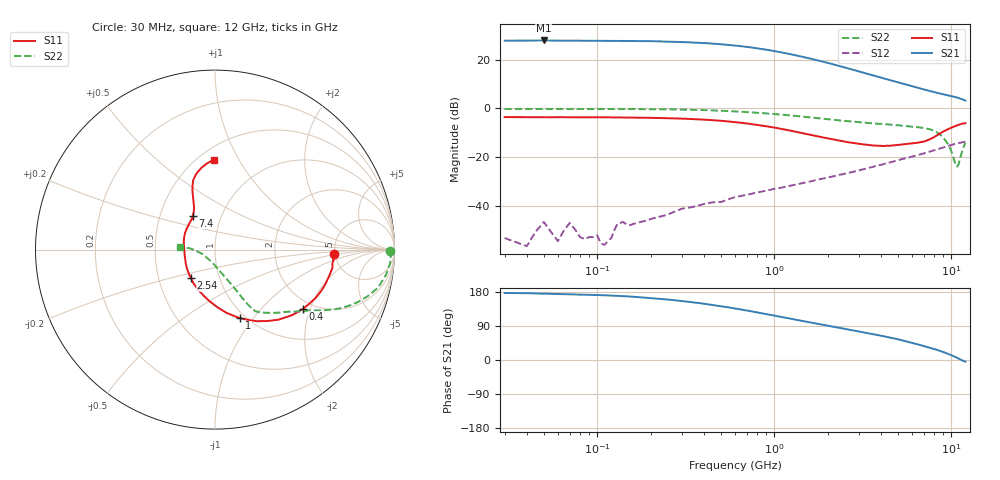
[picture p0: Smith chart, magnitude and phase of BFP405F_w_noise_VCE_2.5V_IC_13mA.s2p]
! Infineon Technologies  Discrete & RF Semiconductors
! BFP405F
! VCE =  2.5 V,  IC =  13 mA
! Common Emitter S-Parameters:  Nov 2015
# GHz  S  MA  R  50
!  f  S11  S21  S12  S22
! GHz  MAG  ANG  MAG  ANG  MAG  ANG  MAG  ANG
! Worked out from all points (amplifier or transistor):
!   239 points, 30 MHz to 12 GHz, reference 50 ohm
!   highest |S21| = 27.9 dB at 50 MHz (marker M1)
!   |S21| within 3 dB of that: start of sweep to 762.3 MHz
!   unconditionally stable (mu >= 1): 2.066 GHz to end of sweep
!   at 300 MHz: K = 0.21, MSG = 34.2 dB, |S12| = -41.1 dB
!   at 1.88 GHz: K = 0.95, MSG = 24.0 dB, |S12| = -28.8 dB
!   at 12 GHz: K = 1.38, MAG = 4.8 dB, |S12| = -13.7 dB
!   lowest NFmin = 1.86 dB at 450 MHz
!   S11 on the Smith chart (normalised r, x): 30 MHz: 4.93, -0.45; 400 MHz: 1.77, -1.79; 1 GHz: 0.94, -0.86; 2.54 GHz: 0.73, -0.24; 7.4 GHz: 0.73, +0.29; 12 GHz: 0.60, +0.79
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0.03  0.6654 -2.2  24.64 176.8  0.0022 90.3  0.9774 -0.4
0.04  0.6621 -3.3  24.68 176.3  0.0015 110.8  0.9779 -0.8
0.05  0.6592 -4.6  24.85 175.1  0.0047 144.5  0.9793 -1.1
0.06  0.664 -5.1  24.63 174.5  0.0019 80.0  0.981 -1.7
0.07  0.6598 -6.1  24.61 173.3  0.0045 61.3  0.981 -2.1
0.085  0.6596 -7.4  24.52 172.4  0.0021 59.0  0.9802 -2.8
0.11  0.6599 -9.8  24.39 170.6  0.0016 121.5  0.9785 -3.6
0.14  0.6539 -12.5  24.34 168.6  0.0047 76.3  0.9773 -4.8
0.24  0.6352 -21.1  23.62 160.3  0.0064 75.2  0.9622 -8.5
0.3  0.6204 -26.1  23.11 155.7  0.0088 81.8  0.9493 -10.4
0.4  0.5911 -33.9  22.02 148.5  0.011 75.1  0.9283 -13.5
0.6  0.5264 -47.9  19.54 135.9  0.0152 74.4  0.871 -18.4
0.8  0.4616 -59.8  17.15 125.5  0.0189 69.7  0.8177 -22.2
1  0.4061 -70.1  15.05 117.1  0.0225 72.0  0.7688 -25.2
1.3  0.3366 -83.9  12.49 106.8  0.027 68.7  0.7074 -28.4
1.64  0.2834 -97.8  10.31 98.2  0.0326 68.1  0.6517 -31.4
2.02  0.2436 -112.6  8.554 90.2  0.0388 67.4  0.6019 -34.8
2.54  0.2072 -130.8  6.834 81.6  0.0467 66.3  0.552 -38.7
4.5  0.1723 176.8  3.82 59.3  0.0782 60.9  0.4683 -49.0
7.4  0.2264 123.0  2.326 33.6  0.1272 49.5  0.3819 -58.1
10.8  0.4524 100.9  1.669 5.4  0.1931 30.2  0.0643 -135.8
12  0.4985 90.7  1.457 -4.4  0.2076 23.4  0.1971 175.6
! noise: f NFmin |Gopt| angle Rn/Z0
0.45  1.86  0.14  4  0.33
0.9  1.88  0.13  7  0.32
1.5  1.93  0.11  11  0.22
1.9  1.96  0.1  17  0.27
2.4  2.11  0.08  24  0.33
3  2.19  0.07  32  0.36
3.5  2.24  0.04  37  0.47
4.5  2.43  0.04  -69  0.18
5.5  2.69  0.13  -87  0.06
